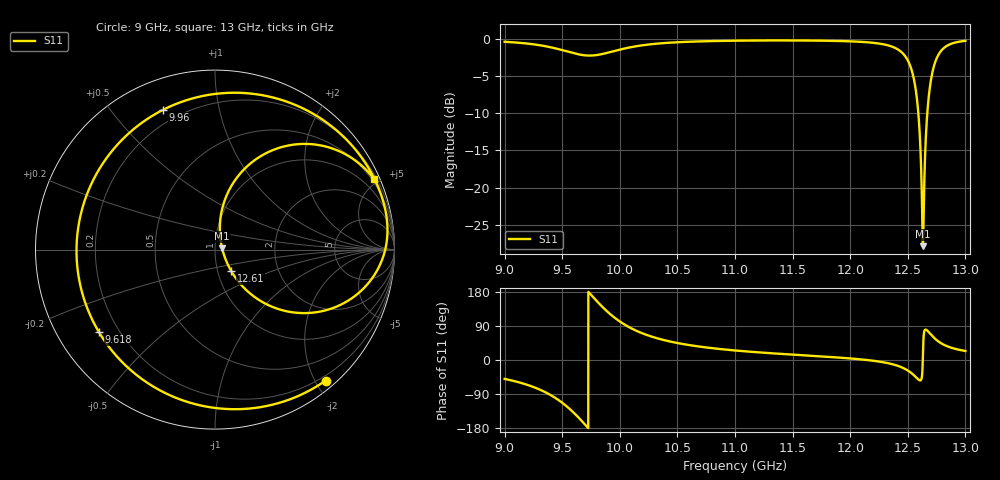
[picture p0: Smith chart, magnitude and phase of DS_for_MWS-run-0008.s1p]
! TOUCHSTONE file generated by CST DESIGN STUDIO
! Date and time: Tue Feb  4 18:17:04 2025
! Project name: C:\Work\MatlabApps\UnitCellOptimizationMatlab\CST\unitcell.cst
! Tree item: Tasks\Sweep1\SPara1\S-Parameters
! Header version: 2024
! Port assignment regex: !\s*Touchstone port\s*([0-9]+)\s*=\s*(CST MWS port|CST DES external port|CST DES block port)\s*(.+)\s* \(\"(.*)\"\)(\s*mode\s*([0-9]+))?.*
! Touchstone port assignment:
! Touchstone port 1 = CST DES external port 1 ("")
# GHz S MA R 50
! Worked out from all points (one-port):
!   4001 points, 9 GHz to 13 GHz, reference 50 ohm
!   lowest |S11| = -27.9 dB at 12.63 GHz (marker M1), VSWR 1.08, Z = 54.1 + j0.73 ohm
!   |S11| at or under -10 dB: 12.59 GHz to 12.67 GHz (77.79 MHz wide, 0.616 % of centre)
!   S11 on the Smith chart (normalised r, x): 9 GHz: 0.13, -2.15; 9.618 GHz: 0.13, -0.32; 9.96 GHz: 0.14, +0.69; 12.61 GHz: 1.16, -0.28; 13 GHz: 0.36, +4.71
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9  0.955 -49.9
9.261  0.9161 -72.5
9.395  0.8789 -91.7
9.5  0.8395 -112.8
9.618  0.7935 -144.5
9.696  0.7743 -169.6
9.77  0.7732 165.4
9.868  0.7965 134.5
9.96  0.8308 110.4
10  0.8459 101.6
10.228  0.9114 66.7
10.5  0.9483 44.8
11  0.971 25.1
11.5  0.9747 14.2
12  0.9617 4.1
12.341  0.8978 -9.3
12.432  0.8299 -17.5
12.5  0.716 -27.7
12.576  0.4148 -46.9
12.598  0.27 -52.8
12.614  0.1495 -52.9
12.631  0.04037 9.6
12.644  0.1154 76.6
12.662  0.2604 79.4
12.677  0.3738 75.2
12.727  0.6559 58.8
12.837  0.8947 36.9
13  0.9696 23.8
